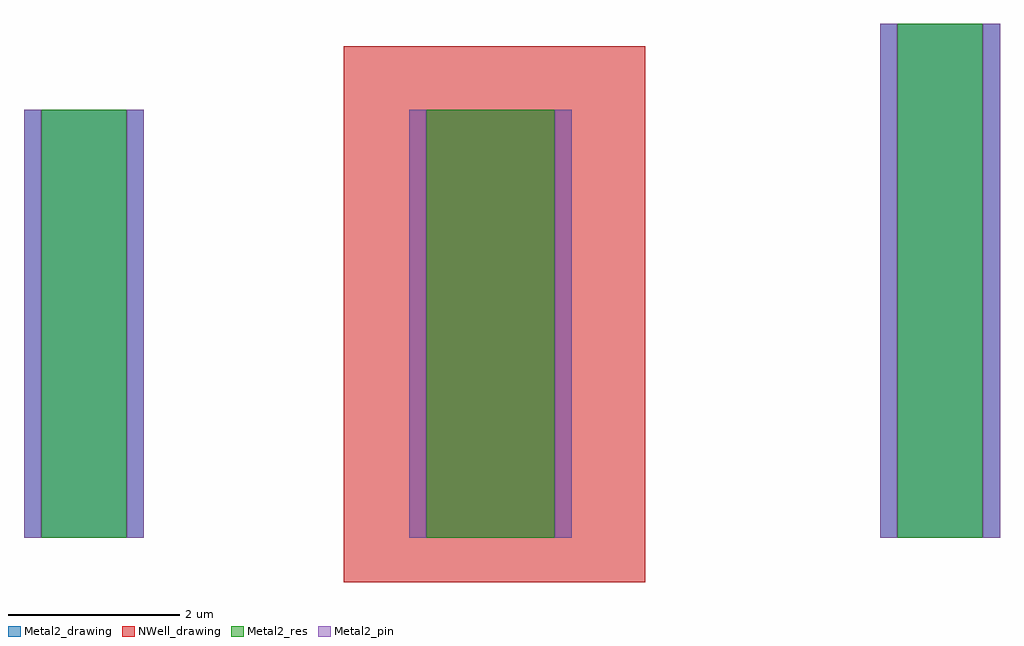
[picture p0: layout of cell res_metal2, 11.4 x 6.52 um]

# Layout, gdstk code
import gdstk
lib = gdstk.Library(unit=1e-6, precision=1e-09)
def R(c, l, rs):  # rectangles x0, y0, x1, y1
    for r in rs: c.add(gdstk.rectangle(r[:2], r[2:], *l))
Metal2_drawing = (10, 0)
Metal2_pin = (10, 2)
Metal2_res = (10, 29)
NWell_drawing = (31, 0)

res_metal2 = lib.new_cell('res_metal2')
R(res_metal2, Metal2_drawing, [(-0.7,0,0.7,5), (-0.5,0,0.5,5), (3.8,0,5.2,5), (4.7,0,5.7,5), (9.3,0,10.7,6), (9.5,0,10.5,6)])
R(res_metal2, Metal2_pin, [(-0.7,0,-0.5,5), (0.5,0,0.7,5), (3.8,0,4,5), (5.5,0,5.7,5), (9.3,0,9.5,6), (10.5,0,10.7,6)])
R(res_metal2, Metal2_res, [(-0.5,0,0.5,5), (4,0,5.5,5), (9.5,0,10.5,6)])
R(res_metal2, NWell_drawing, [(3.032,-0.519,6.556,5.737)])

lib.write_gds('res_metal2.gds')
